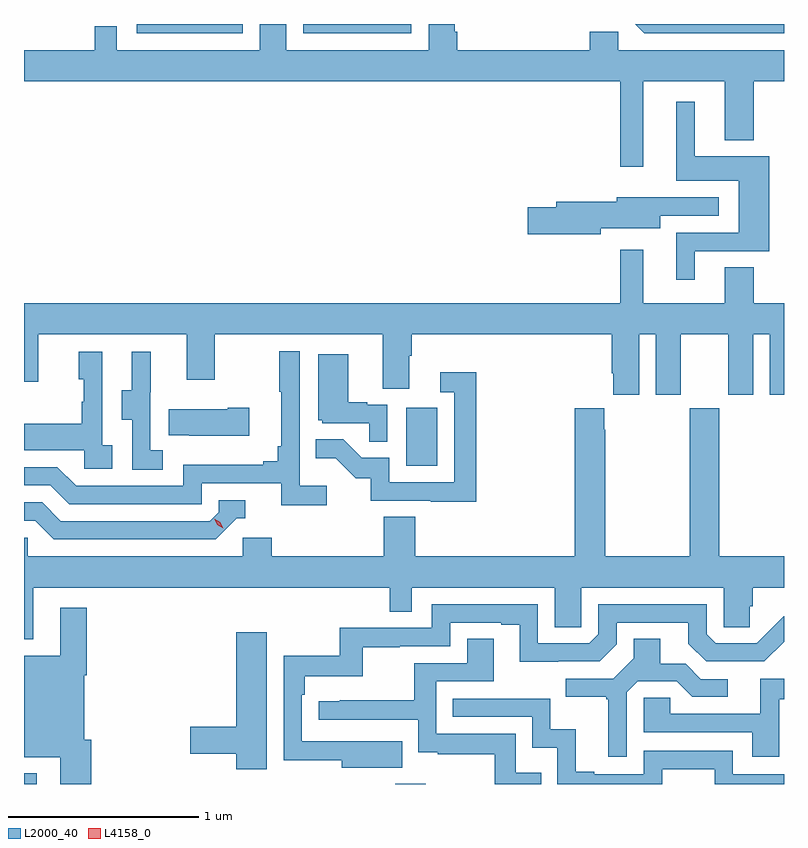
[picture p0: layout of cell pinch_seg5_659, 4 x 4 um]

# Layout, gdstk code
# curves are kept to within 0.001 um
import gdstk
lib = gdstk.Library(unit=1e-6, precision=1e-09)
def R(c, l, rs):  # rectangles x0, y0, x1, y1
    for r in rs: c.add(gdstk.rectangle(r[:2], r[2:], *l))
def P(c, l, *ps):  # polygons
    for p in ps: c.add(gdstk.Polygon(p, *l))
L2000_40 = (2000, 40)
L4158_0 = (4158, 0)

pinch_seg5_659 = lib.new_cell('pinch_seg5_659')
R(pinch_seg5_659, L2000_40, [(1068.001,833.082,1068.067,833.138), (1069.955,833.082,1070.115,833.083), (1070.012,834.756,1070.176,835.063), (1068.594,837.033,1069.152,837.082), (1069.47,837.033,1070.04,837.082)])
P(pinch_seg5_659, L2000_40, [(1071.259,836.78),(1071.689,836.78),(1071.689,836.471),(1071.842,836.471),(1071.842,836.78),(1072.001,836.78),(1072.001,836.944),(1071.129,836.944),(1071.129,837.042),(1070.979,837.042),(1070.979,836.944),(1070.282,836.944),(1070.282,837.042),(1070.267,837.042),(1070.267,837.082),(1070.13,837.082),(1070.13,836.944),(1069.38,836.944),(1069.38,837.082),(1069.241,837.082),(1069.241,836.944),(1068.489,836.944),(1068.489,837.071),(1068.373,837.071),(1068.373,836.944),(1068.001,836.944),(1068.001,836.78),(1071.138,836.78),(1071.138,836.331),(1071.259,836.331)],
  [(1072.001,837.082),(1071.217,837.082),(1071.266,837.033),(1072.001,837.033)],
  [(1071.532,835.887),(1071.923,835.887),(1071.923,836.386),(1071.532,836.386),(1071.532,836.674),(1071.434,836.674),(1071.434,836.258),(1071.764,836.258),(1071.764,835.983),(1071.434,835.983),(1071.434,835.737),(1071.532,835.737)],
  [(1071.036,836.006),(1071.349,836.006),(1071.349,836.073),(1071.658,836.073),(1071.658,836.169),(1071.345,836.169),(1071.345,836.17),(1071.122,836.17),(1071.122,836.147),(1070.801,836.147),(1070.801,836.117),(1070.652,836.117),(1070.652,835.975),(1071.036,835.975)],
  [(1071.326,835.131),(1071.457,835.131),(1071.457,835.448),(1071.707,835.448),(1071.707,835.131),(1071.838,835.131),(1071.838,835.448),(1071.926,835.448),(1071.926,835.131),(1072.001,835.131),(1072.001,835.612),(1071.842,835.612),(1071.842,835.802),(1071.689,835.802),(1071.689,835.612),(1071.259,835.612),(1071.259,835.894),(1071.138,835.894),(1071.138,835.612),(1068.001,835.612),(1068.001,835.2),(1068.077,835.2),(1068.077,835.448),(1068.857,835.448),(1068.857,835.209),(1069.005,835.209),(1069.005,835.448),(1069.889,835.448),(1069.889,835.162),(1070.029,835.162),(1070.029,835.336),(1070.042,835.336),(1070.042,835.448),(1071.095,835.448),(1071.095,835.243),(1071.101,835.243),(1071.101,835.131),(1071.238,835.131),(1071.238,835.448),(1071.326,835.448)],
  [(1069.594,834.652),(1069.452,834.652),(1069.452,835.36),(1069.344,835.36),(1069.344,835.147),(1069.355,835.147),(1069.355,834.859),(1069.336,834.859),(1069.336,834.782),(1069.259,834.782),(1069.259,834.763),(1068.84,834.763),(1068.84,834.651),(1068.276,834.651),(1068.177,834.75),(1068.001,834.75),(1068.001,834.654),(1068.14,834.654),(1068.239,834.555),(1068.936,834.555),(1068.936,834.666),(1069.355,834.666),(1069.355,834.55),(1069.594,834.55)],
  [(1068.73,834.839),(1068.666,834.839),(1068.666,835.143),(1068.668,835.143),(1068.668,835.357),(1068.569,835.357),(1068.569,835.155),(1068.515,835.155),(1068.515,835),(1068.57,835),(1068.57,834.736),(1068.73,834.736)],
  [(1068.466,834.866),(1068.414,834.866),(1068.414,835.357),(1068.29,835.357),(1068.29,835.212),(1068.316,835.212),(1068.316,835.094),(1068.306,835.094),(1068.306,834.979),(1068.001,834.979),(1068.001,834.839),(1068.318,834.839),(1068.318,834.741),(1068.466,834.741)],
  [(1069.914,835.077),(1069.808,835.077),(1069.808,835.09),(1069.708,835.09),(1069.708,835.345),(1069.55,835.345),(1069.55,834.996),(1069.572,834.996),(1069.572,834.981),(1069.819,834.981),(1069.819,834.883),(1069.914,834.883)],
  [(1070.381,835.249),(1070.193,835.249),(1070.193,835.143),(1070.265,835.143),(1070.265,834.669),(1069.923,834.669),(1069.923,834.798),(1069.779,834.798),(1069.681,834.896),(1069.537,834.896),(1069.537,834.797),(1069.641,834.797),(1069.748,834.69),(1069.825,834.69),(1069.825,834.573),(1070.143,834.573),(1070.143,834.568),(1070.381,834.568)],
  [(1069.186,835.062),(1069.073,835.062),(1069.073,835.054),(1068.763,835.054),(1068.763,834.917),(1068.871,834.917),(1068.871,834.914),(1069.186,834.914)],
  [(1068.049,834.116),(1069.927,834.116),(1069.927,833.989),(1070.043,833.989),(1070.043,834.116),(1070.795,834.116),(1070.795,833.908),(1070.934,833.908),(1070.934,834.116),(1071.684,834.116),(1071.684,833.908),(1071.821,833.908),(1071.821,834.018),(1071.836,834.018),(1071.836,834.116),(1072.001,834.116),(1072.001,834.28),(1071.66,834.28),(1071.66,835.06),(1071.505,835.06),(1071.505,834.28),(1071.06,834.28),(1071.06,834.947),(1071.055,834.947),(1071.055,835.06),(1070.9,835.06),(1070.9,834.28),(1070.06,834.28),(1070.06,834.488),(1069.895,834.488),(1069.895,834.28),(1069.304,834.28),(1069.304,834.378),(1069.152,834.378),(1069.152,834.28),(1068.021,834.28),(1068.021,834.378),(1068.001,834.378),(1068.001,833.843),(1068.049,833.843)],
  [(1069.122,834.48),(1069.165,834.48),(1069.165,834.576),(1069.026,834.576),(1069.026,834.513),(1068.978,834.465),(1068.195,834.465),(1068.096,834.564),(1068.001,834.564),(1068.001,834.468),(1068.059,834.468),(1068.158,834.369),(1069.011,834.369)],
  [(1069.991,833.308),(1069.464,833.307),(1069.464,833.552),(1069.478,833.552),(1069.478,833.648),(1069.783,833.648),(1069.783,833.803),(1069.979,833.803),(1069.979,833.808),(1070.244,833.808),(1070.244,833.931),(1070.513,833.931),(1070.513,833.919),(1070.609,833.919),(1070.609,833.726),(1071.03,833.727),(1071.12,833.817),(1071.12,833.931),(1071.497,833.931),(1071.497,833.821),(1071.591,833.727),(1071.897,833.727),(1072.001,833.831),(1072.001,833.965),(1071.858,833.823),(1071.642,833.823),(1071.594,833.871),(1071.594,834.027),(1071.024,834.027),(1071.024,833.871),(1070.976,833.823),(1070.706,833.823),(1070.706,834.027),(1070.148,834.027),(1070.148,833.904),(1069.662,833.904),(1069.662,833.758),(1069.368,833.758),(1069.368,833.206),(1069.673,833.206),(1069.673,833.168),(1069.991,833.168)],
  [(1068.356,833.316),(1068.319,833.316),(1068.319,833.654),(1068.332,833.654),(1068.332,834.01),(1068.191,834.01),(1068.191,833.758),(1068.001,833.758),(1068.001,833.223),(1068.191,833.223),(1068.191,833.082),(1068.356,833.082)],
  [(1069.279,833.881),(1069.118,833.881),(1069.118,833.384),(1068.876,833.384),(1068.876,833.242),(1069.118,833.242),(1069.118,833.16),(1069.279,833.16)],
  [(1071.174,833.565),(1071.231,833.622),(1071.437,833.622),(1071.518,833.541),(1071.706,833.541),(1071.706,833.634),(1071.564,833.634),(1071.484,833.714),(1071.349,833.714),(1071.349,833.846),(1071.209,833.846),(1071.209,833.744),(1071.102,833.637),(1070.853,833.637),(1070.853,833.54),(1071.066,833.54),(1071.066,833.529),(1071.077,833.529),(1071.077,833.226),(1071.174,833.226)],
  [(1070.723,833.14),(1070.589,833.14),(1070.589,833.346),(1070.172,833.346),(1070.172,833.622),(1070.473,833.622),(1070.473,833.846),(1070.333,833.846),(1070.333,833.718),(1070.056,833.718),(1070.056,833.522),(1069.663,833.522),(1069.663,833.517),(1069.551,833.517),(1069.551,833.421),(1070.076,833.421),(1070.076,833.249),(1070.179,833.249),(1070.179,833.238),(1070.478,833.238),(1070.478,833.082),(1070.723,833.082)],
  [(1071.977,833.529),(1072.001,833.529),(1072.001,833.637),(1071.875,833.637),(1071.875,833.451),(1071.401,833.451),(1071.401,833.535),(1071.264,833.535),(1071.264,833.355),(1071.833,833.355),(1071.833,833.226),(1071.977,833.226)],
  [(1071.36,833.16),(1071.636,833.16),(1071.636,833.082),(1072.001,833.082),(1072.001,833.133),(1071.732,833.133),(1071.732,833.256),(1071.264,833.256),(1071.264,833.133),(1071.001,833.133),(1071.001,833.146),(1070.905,833.146),(1070.905,833.371),(1070.772,833.371),(1070.772,833.532),(1070.257,833.532),(1070.257,833.436),(1070.676,833.436),(1070.676,833.273),(1070.808,833.273),(1070.808,833.082),(1071.36,833.082)])
P(pinch_seg5_659, L4158_0, [(1069.05,834.428),(1069.019,834.447),(1069.002,834.479),(1069.002,834.479),(1069.002,834.479),(1069.033,834.46),(1069.05,834.428),(1069.05,834.428)])

lib.write_gds('pinch_seg5_659.gds')
